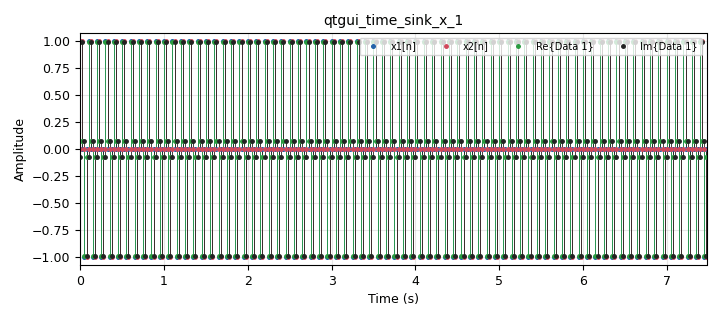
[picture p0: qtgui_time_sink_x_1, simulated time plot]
options:
  parameters:
    generate_options: qt_gui
    id: default
    output_language: python
    title: Not titled yet
  states: {}

blocks:
- name: samp_rate
  id: variable
  parameters:
    value: '32000'
  states: {}
- name: analog_sig_source_x_0
  id: analog_sig_source_x
  parameters:
    amp: '1'
    freq: '10'
    offset: '0'
    phase: '0'
    samp_rate: '40'
    type: complex
    waveform: analog.GR_COS_WAVE
  states: {}
- name: analog_sig_source_x_1
  id: analog_sig_source_x
  parameters:
    amp: '1'
    freq: '50'
    offset: '0'
    phase: '0'
    samp_rate: '40'
    type: complex
    waveform: analog.GR_COS_WAVE
  states: {}
- name: blocks_throttle2_0
  id: blocks_throttle2
  parameters:
    samples_per_second: '4000'
    type: complex
  states: {}
- name: blocks_throttle2_1
  id: blocks_throttle2
  parameters:
    samples_per_second: '4000'
    type: complex
  states: {}
- name: qtgui_time_sink_x_1
  id: qtgui_time_sink_x
  parameters:
    color3: cyan
    label1: x1[n]
    label2: x2[n]
    nconnections: '2'
    size: '300'
    srate: '40'
    stemplot: 'True'
    type: complex
  states: {}

connections:
- [analog_sig_source_x_0, '0', blocks_throttle2_0, '0']
- [analog_sig_source_x_1, '0', blocks_throttle2_1, '0']
- [blocks_throttle2_0, '0', qtgui_time_sink_x_1, '0']
- [blocks_throttle2_1, '0', qtgui_time_sink_x_1, '1']

metadata:
  file_format: 1
  grc_version: 3.10.12.0
